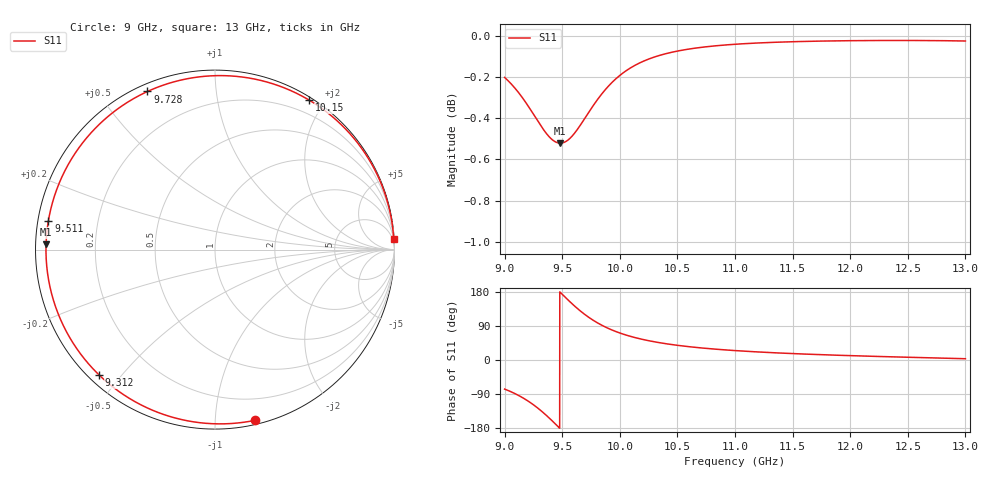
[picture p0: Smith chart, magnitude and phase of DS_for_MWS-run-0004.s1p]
! TOUCHSTONE file generated by CST DESIGN STUDIO
! Date and time: Wed Feb  5 13:20:41 2025
! Project name: C:\Work\MatlabApps\UnitCellOptimizationMatlab\CST\unitcell.cst
! Tree item: Tasks\Sweep1\SPara1\S-Parameters
! Header version: 2024
! Port assignment regex: !\s*Touchstone port\s*([0-9]+)\s*=\s*(CST MWS port|CST DES external port|CST DES block port)\s*(.+)\s* \(\"(.*)\"\)(\s*mode\s*([0-9]+))?.*
! Touchstone port assignment:
! Touchstone port 1 = CST DES external port 1 ("")
# GHz S MA R 50
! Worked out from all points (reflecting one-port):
!   4001 points, 9 GHz to 13 GHz, reference 50 ohm
!   lowest |S11| = -0.5 dB at 9.484 GHz (marker M1), VSWR 33.36, Z = 1.5 + j0.765 ohm
!   phase of S11 starts at -77 deg and turns -280 deg over the sweep
!   S11 on the Smith chart (normalised r, x): 9 GHz: 0.03, -1.26; 9.312 GHz: 0.03, -0.44; 9.511 GHz: 0.03, +0.09; 9.728 GHz: 0.03, +0.66; 10.15 GHz: 0.03, +1.82; 13 GHz: 2, +34
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9  0.9771 -76.8
9.079  0.972 -87.1
9.178  0.964 -103.4
9.247  0.9575 -117.4
9.312  0.9512 -132.8
9.357  0.9473 -144.7
9.405  0.9441 -158.2
9.445  0.9424 -170.0
9.484  0.9418 178.2
9.5  0.9419 173.4
9.511  0.9421 170.1
9.563  0.9441 154.8
9.623  0.9483 138.2
9.675  0.9529 125.1
9.728  0.958 113.1
9.782  0.9629 102.4
9.843  0.9681 91.9
9.92  0.9736 80.7
10  0.9782 71.3
10.151  0.9844 57.7
10.309  0.9885 47.5
10.5  0.9916 38.7
10.722  0.9938 31.4
11  0.9954 24.8
11.5  0.9968 16.9
12  0.9974 11.5
12.5  0.9975 7.2
13  0.9972 3.4
